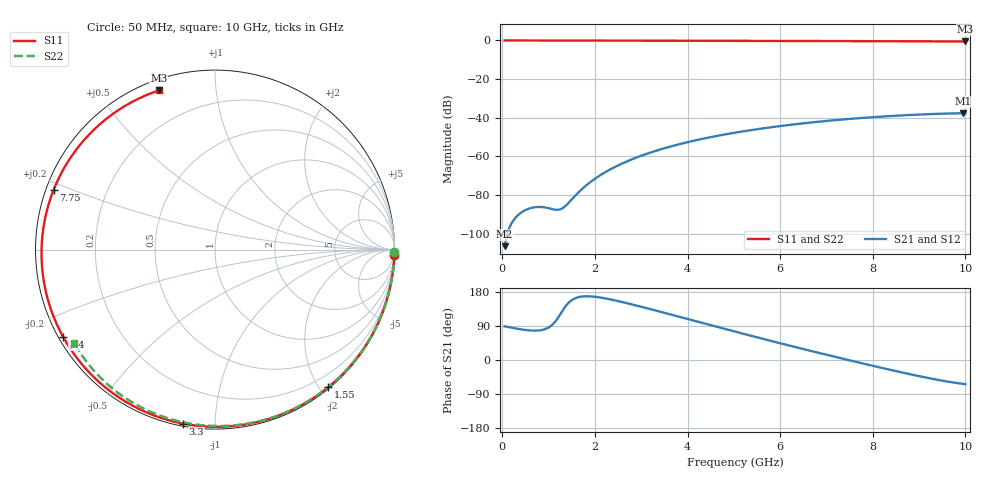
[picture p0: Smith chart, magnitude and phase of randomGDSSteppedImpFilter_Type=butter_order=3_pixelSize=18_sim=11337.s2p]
! freq	dB(S11)	phase(S11)	dB(S12)	phase(S12)
!  dB(S21)	phase(S21)	dB(S22)	phase(S22)
!S-par simulation data
#  GHz  S  DB  R 50
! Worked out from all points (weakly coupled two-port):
!   200 points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, 50 MHz to 10 GHz, reference 50 ohm
!   highest |S21| = -37.67 dB at 9.95 GHz (marker M1); lowest = -106.4 dB at 50 MHz (marker M2)
!   lowest |S11| = -0.5 dB at 10 GHz (marker M3), VSWR 32.46, Z = 2.31 + j35.3 ohm
!   |S11| at or under -10 dB: nowhere
!   |S22| runs from -0.5 to 0.0 dB; largest |S21 - S12| = 0
!   S11 on the Smith chart (normalised r, x): 50 MHz: 0, -68; 1.55 GHz: 0.02, -2.12; 3.3 GHz: 0.01, -0.83; 5.4 GHz: 0.01, -0.27; 7.75 GHz: 0.02, +0.18; 10 GHz: 0.05, +0.71
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0.05  -0.00 -1.7  -106.41 88.8  -106.41 88.8  -0.00 -0.8
0.4  -0.02 -13.4  -89.17 80.9  -89.17 80.9  -0.01 -6.6
0.75  -0.03 -25.0  -86.15 77.6  -86.15 77.6  -0.02 -12.4
1.15  -0.05 -37.9  -87.57 102.4  -87.57 102.4  -0.02 -18.9
1.55  -0.06 -50.5  -80.96 161.6  -80.96 161.6  -0.03 -25.4
1.6  -0.07 -52.1  -79.70 164.2  -79.70 164.2  -0.03 -26.2
1.75  -0.07 -56.7  -76.25 167.8  -76.25 167.8  -0.04 -28.6
2.05  -0.08 -65.7  -70.73 166.0  -70.73 166.0  -0.04 -33.4
2.4  -0.09 -75.9  -65.83 158.2  -65.83 158.2  -0.05 -38.9
2.8  -0.11 -87.1  -61.48 146.7  -61.48 146.7  -0.06 -45.1
3.3  -0.12 -100.4  -57.21 131.0  -57.21 131.0  -0.07 -52.8
3.4  -0.13 -103.0  -56.47 127.8  -56.47 127.8  -0.07 -54.3
4.25  -0.16 -123.9  -51.26 100.0  -51.26 100.0  -0.09 -67.0
5.05  -0.19 -142.3  -47.60 74.1  -47.60 74.1  -0.12 -78.5
5.4  -0.21 -150.1  -46.27 63.0  -46.27 63.0  -0.13 -83.5
6.05  -0.25 -164.2  -44.13 42.7  -44.13 42.7  -0.16 -92.5
6.7  -0.29 -178.0  -42.35 22.9  -42.35 22.9  -0.20 -101.3
7.75  -0.37 159.8  -40.11 -8.2  -40.11 -8.2  -0.26 -115.2
8.35  -0.41 146.8  -39.15 -25.2  -39.15 -25.2  -0.31 -123.1
9.2  -0.48 128.0  -38.13 -47.6  -38.13 -47.6  -0.41 -134.6
9.95  -0.53 110.6  -37.67 -63.0  -37.67 -63.0  -0.53 -145.7
10  -0.54 109.4  -37.67 -63.8  -37.67 -63.8  -0.54 -146.5
